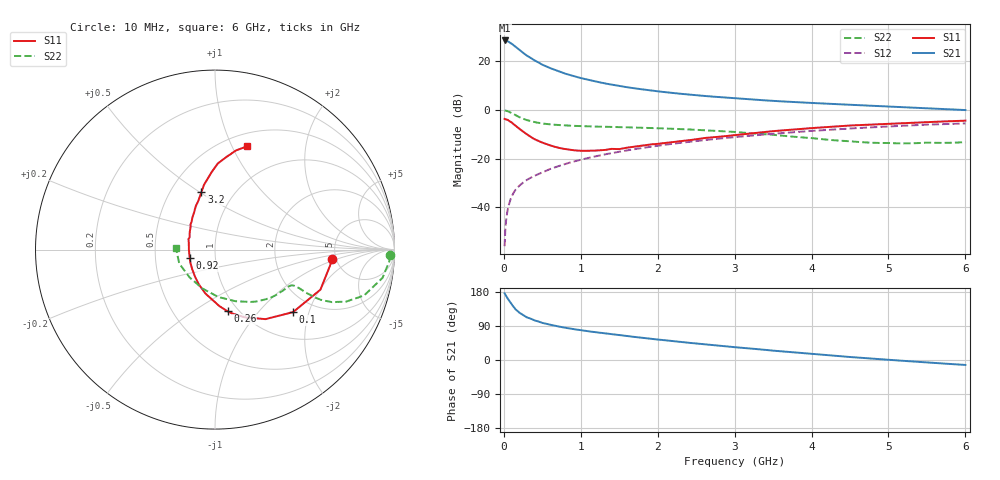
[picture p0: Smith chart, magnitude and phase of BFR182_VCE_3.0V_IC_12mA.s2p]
! Infineon Technologies  Discrete & RF Semiconductors
! BFR182
! VCE =  3.0 V,  IC =  12 mA
! Common Emitter S-Parameters:  Nov 2015
# GHz  S  MA  R  50
!  f  S11  S21  S12  S22
! GHz  MAG  ANG  MAG  ANG  MAG  ANG  MAG  ANG
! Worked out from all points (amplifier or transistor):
!   210 points, 10 MHz to 6 GHz, reference 50 ohm
!   highest |S21| = 28.5 dB at 10 MHz (marker M1)
!   |S21| within 3 dB of that: start of sweep to 168.9 MHz
!   unconditionally stable (mu >= 1): 725.9 MHz to 2.571 GHz
!   at 185 MHz: K = 0.56, MSG = 28.4 dB, |S12| = -31.6 dB
!   at 1.52 GHz: K = 1.05, MAG = 12.0 dB, |S12| = -17.1 dB
!   at 6 GHz: K = 0.89, MSG = 2.7 dB, |S12| = -5.5 dB
!   S11 on the Smith chart (normalised r, x): 10 MHz: 4.64, -0.82; 100 MHz: 1.56, -1.58; 260 MHz: 0.89, -0.70; 920 MHz: 0.75, -0.07; 3.2 GHz: 0.71, +0.51; 6 GHz: 0.63, +1.15
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0.01  0.6549 -4.4  26.73 176.1  0.0016 92.9  0.9783 -1.9
0.025  0.6414 -10.2  26.25 170.6  0.0046 80.8  0.9677 -4.9
0.05  0.6284 -20.8  25.86 162.0  0.009 81.4  0.9463 -9.6
0.1  0.5571 -38.7  23.12 146.9  0.0166 74.3  0.8695 -17.1
0.15  0.4789 -54.0  20 134.1  0.0229 69.8  0.7849 -21.7
0.2  0.4118 -66.4  17.29 125.1  0.0277 68.1  0.7139 -24.2
0.24  0.3697 -74.6  15.35 119.7  0.0313 67.4  0.6702 -25.1
0.26  0.3509 -78.5  14.51 117.1  0.0331 67.2  0.6511 -25.4
0.3  0.3155 -85.6  13.04 112.5  0.0367 67.2  0.6183 -25.6
0.4  0.2511 -102.1  10.4 104.5  0.0446 67.7  0.5622 -25.3
0.5  0.214 -114.9  8.506 98.0  0.0521 68.7  0.5273 -24.8
0.6  0.1882 -126.0  7.254 93.1  0.0612 69.6  0.506 -24.5
0.7  0.1692 -138.0  6.306 88.8  0.0693 69.7  0.4917 -24.5
0.92  0.1483 -161.8  4.886 81.1  0.0884 69.9  0.4712 -25.0
1.02  0.1451 -171.5  4.447 78.2  0.0968 69.7  0.4651 -25.7
1.4  0.159 158.4  3.311 68.0  0.13 68.2  0.4488 -29.3
2.02  0.2032 130.0  2.395 53.6  0.186 63.7  0.4212 -37.4
3.1  0.3152 104.9  1.693 32.2  0.2864 53.7  0.3439 -57.7
3.2  0.328 103.4  1.651 30.4  0.2958 52.6  0.3343 -60.2
4.1  0.435 92.2  1.369 14.6  0.3804 42.6  0.2547 -89.7
5.1  0.5291 81.9  1.16 -0.9  0.4676 30.2  0.207 -137.7
6  0.6035 72.6  0.996 -13.1  0.5291 17.8  0.2188 177.0
